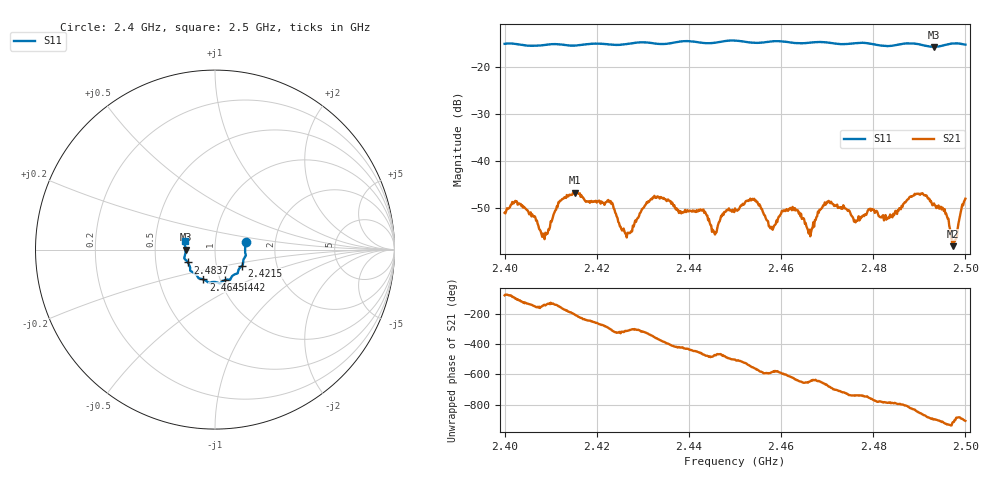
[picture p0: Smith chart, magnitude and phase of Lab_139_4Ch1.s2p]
# Hz S RI R 50
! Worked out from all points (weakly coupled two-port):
!   601 points, 2.4 GHz to 2.5 GHz, reference 50 ohm
!   highest |S21| = -46.79 dB at 2.4153 GHz (marker M1); lowest = -58.2 dB at 2.4973 GHz (marker M2)
!   lowest |S11| = -15.7 dB at 2.4932 GHz (marker M3), VSWR 1.39, Z = 36 - j0.0501 ohm
!   |S11| at or under -10 dB: start of sweep to end of sweep
!   S12 and S22 are empty: the file has one direction only
!   S11 on the Smith chart (normalised r, x): 2.4 GHz: 1.41, +0.12; 2.4215 GHz: 1.33, -0.25; 2.4442 GHz: 1.05, -0.37; 2.4645 GHz: 0.83, -0.29; 2.4837 GHz: 0.73, -0.11; 2.5 GHz: 0.71, +0.07
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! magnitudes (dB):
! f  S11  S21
! 2.4 GHz  -15.1  -51.1
! 2.4028 GHz  -15.2  -49.4
! 2.4087 GHz  -15.3  -56.7
! 2.4153 GHz  -15.5  -46.8
! 2.4167 GHz  -15.3  -47.4
! 2.4215 GHz  -15.1  -49.0
! 2.4267 GHz  -15.1  -55.4
! 2.4333 GHz  -15.1  -47.7
! 2.4442 GHz  -15.0  -52.7
! 2.4455 GHz  -14.9  -55.4
! 2.45 GHz  -14.4  -50.2
! 2.4543 GHz  -14.9  -48.5
! 2.4578 GHz  -14.6  -54.4
! 2.4645 GHz  -15.0  -52.4
! 2.4667 GHz  -14.8  -54.5
! 2.4703 GHz  -14.8  -48.6
! 2.4833 GHz  -15.6  -52.0
! 2.4837 GHz  -15.5  -51.5
! 2.4895 GHz  -15.1  -47.1
! 2.4932 GHz  -15.7  -49.1
! 2.4973 GHz  -15.0  -58.2
! 2.5 GHz  -15.3  -48.1
